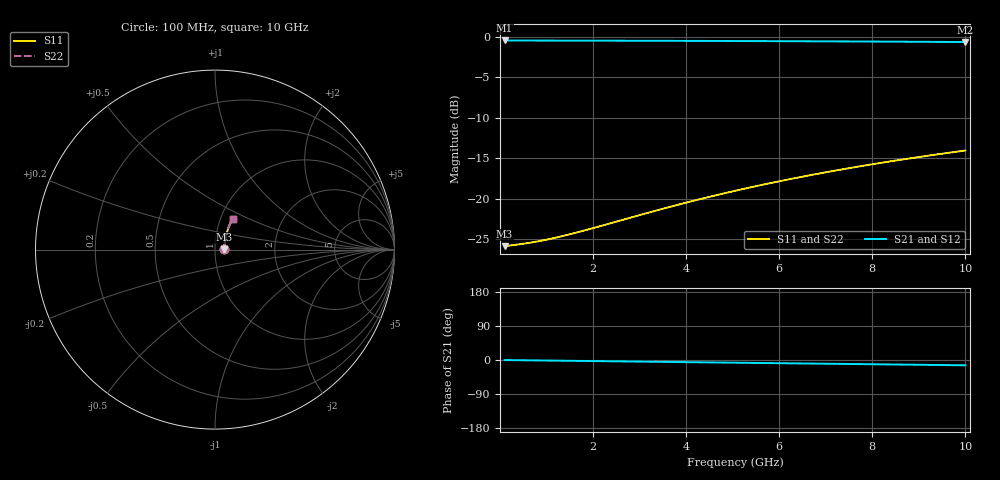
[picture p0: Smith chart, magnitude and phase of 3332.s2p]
# Hz S RI R 50.00
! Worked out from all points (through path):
!   100 points, 100 MHz to 10 GHz, reference 50 ohm
!   highest |S21| = -0.45 dB at 100 MHz (marker M1); lowest = -0.6 dB at 10 GHz (marker M2)
!   group delay of S21, straight-line fit = 3.88 ps
!   lowest |S11| = -25.9 dB at 100 MHz (marker M3), VSWR 1.11, Z = 55.3 + j0.203 ohm
!   |S11| at or under -10 dB: start of sweep to end of sweep
!   |S22| runs from -25.9 to -14.1 dB; largest |S21 - S12| = 0
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1e8  0.0507 0.00183  0.9493 -0.00235  0.9493 -0.00235  0.0507 0.00183
5e8  0.0517 0.00914  0.9483 -0.0117  0.9483 -0.0117  0.0517 0.00914
7e8  0.0521 0.0128  0.9479 -0.0164  0.9479 -0.0164  0.0521 0.0128
9e8  0.0525 0.0164  0.9475 -0.0211  0.9475 -0.0211  0.0525 0.0164
1.1e9  0.0528 0.0201  0.9472 -0.0257  0.9472 -0.0257  0.0528 0.0201
1.3e9  0.0532 0.0237  0.9468 -0.0304  0.9468 -0.0304  0.0532 0.0237
1.5e9  0.0536 0.0273  0.9464 -0.035  0.9464 -0.035  0.0536 0.0273
1.8e9  0.0542 0.0327  0.9457 -0.042  0.9457 -0.042  0.0542 0.0327
3.4e9  0.0586 0.0615  0.9412 -0.079  0.9412 -0.079  0.0586 0.0615
3.9e9  0.0604 0.0704  0.9394 -0.0905  0.9394 -0.0905  0.0604 0.0704
4.3e9  0.0619 0.0774  0.9378 -0.0996  0.9378 -0.0996  0.0619 0.0774
4.7e9  0.0636 0.0845  0.936 -0.1087  0.936 -0.1087  0.0636 0.0845
5.1e9  0.0655 0.0915  0.9342 -0.1178  0.9342 -0.1178  0.0655 0.0915
5.5e9  0.0674 0.0984  0.9322 -0.1268  0.9322 -0.1268  0.0674 0.0984
5.9e9  0.0695 0.1053  0.93 -0.1357  0.93 -0.1357  0.0695 0.1053
6.3e9  0.0717 0.1121  0.9277 -0.1446  0.9277 -0.1446  0.0717 0.1121
6.7e9  0.074 0.1189  0.9253 -0.1535  0.9253 -0.1535  0.074 0.1189
7.5e9  0.0791 0.1323  0.9201 -0.171  0.9201 -0.171  0.0791 0.1323
7.9e9  0.0818 0.1389  0.9174 -0.1797  0.9174 -0.1797  0.0818 0.1389
8.4e9  0.0853 0.147  0.9137 -0.1904  0.9137 -0.1904  0.0853 0.147
9.2e9  0.0914 0.1598  0.9074 -0.2074  0.9074 -0.2074  0.0914 0.1598
1e10  0.0979 0.1723  0.9007 -0.224  0.9007 -0.224  0.0979 0.1723
